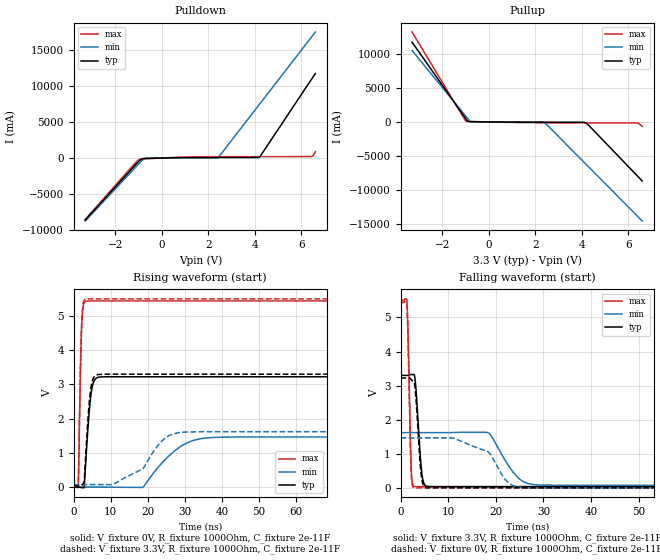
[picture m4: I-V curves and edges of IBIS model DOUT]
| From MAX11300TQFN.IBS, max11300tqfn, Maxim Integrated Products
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[Model]   DOUT
Model_type   Output
Polarity   Non-Inverting
Vmeas = 1.65
Vref = 3.3
Cref = 20pF
Rref = 1e3
|   typ   min   max
C_comp   1.884e-12   2.663e-12   1.350e-12
|C_comp (ON state)   1.884e-12   2.663e-12   1.350e-12
|C_comp (OFF state)   1.768e-12   2.478e-12   1.256e-12
[Voltage Range]   3.3   1.62   5.5
[Temperature Range]   25   105   -45
[Pullup Reference]   3.3   1.62   5.5
[Pulldown Reference]   0   0   0
[Power Clamp Reference]   3.3   1.62   5.5
[GND Clamp Reference]   0   0   0
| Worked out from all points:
|   slope of the pulldown table from 0 to 0.495 V, typ, clamps not added: 13.9 ohm
|   slope of the pullup table from 0 to 0.495 V, typ, clamps not added: 27.6 ohm
|   falling waveform, V_fixture 3.3V, R_fixture 1000Ohm, C_fixture 2e-11F: 20-80 % time 918ps typ, 4.18ns min, 517ps max; typ from 3.3 V to 0.036 V
|   rising waveform, V_fixture 0V, R_fixture 1000Ohm, C_fixture 2e-11F: 20-80 % time 1.32ns typ, 7.96ns min, 619ps max; typ from 0 V to 3.22 V
|   rising waveform, V_fixture 3.3V, R_fixture 1000Ohm, C_fixture 2e-11F: 20-80 % time 1.24ns typ, 7.63ns min, 599ps max; typ from 0.036 V to 3.3 V
|   falling waveform, V_fixture 0V, R_fixture 1000Ohm, C_fixture 2e-11F: 20-80 % time 904ps typ, 5.59ns min, 509ps max; typ from 3.22 V to 0 V
[Pulldown]
|   Voltage   I(typ)   I(min)   I(max)
-3.3V     -8.626A    -8.755A    -8.532A
-1.139V   -946.3mA   -1.304A    -651mA
-984.5mV  -425.2mA   -773.7mA   -224.7mA
-844.8mV  -108.1mA   -330.2mA   -124.7mA
-732.3mV  -61.23mA   -84.56mA   -107.1mA
-607.6mV  -50.54mA   -18.66mA   -89.93mA
2.398V    66.94mA    59.63mA    183.7mA
2.462V    67.06mA    240.2mA    184mA
4.201V    155mA      7.497A     187.2mA
6.42V     10.89A     16.77A     206.9mA
6.49V     11.23A     17.06A     305.6mA
6.597V    11.75A     17.51A     887.3mA
[Pullup]
|   Voltage   I(typ)   I(min)   I(max)
-3.3V     11.71A     10.49A     13.2A
-983.4mV  441.6mA    816.1mA    130.9mA
-891mV    86.38mA    430.4mA    80.75mA
-805.2mV  38.81mA    106.4mA    72mA
-727.4mV  33.1mA     22.22mA    64.7mA
2.181V    -38.17mA   -4.907mA   -115.6mA
2.378V    -38.91mA   -124.3mA   -119.2mA
4.158V    -132.2mA   -6.141A    -134.4mA
4.389V    -829.4mA   -6.937A    -135.4mA
6.366V    -7.856A    -13.75A    -154.1mA
6.463V    -8.201A    -14.09A    -255.7mA
6.597V    -8.678A    -14.55A    -664.7mA
[Ramp]
R_load = 1000
|   typ   min   max
dV/dt_r   1.9344/1.32382e-09   0.880239/7.97784e-09   3.2634/6.18497e-10
dV/dt_f   1.95833/9.18428e-10   0.926592/4.17131e-09   3.28024/5.16706e-10
[Falling Waveform]
V_fixture = 3.3V
V_fixture_min = 1.62V
V_fixture_max = 5.5V
R_fixture = 1000Ohm
C_fixture = 2e-11F
|   Time   V(typ)   V(min)   V(max)
0s        3.3V       1.62V      5.5V
1.342ns   3.3V       1.62V      5.476V
1.582ns   3.3V       1.62V      4.481V
2.194ns   3.325V     1.62V      725.1mV
2.818ns   3.325V     1.62V      41.24mV
4.459ns   431.5mV    1.62V      33.03mV
5.409ns   49.27mV    1.62V      32.97mV
18.33ns   36.12mV    1.622V     32.93mV
28.04ns   36.12mV    93.83mV    32.93mV
100ns     36.12mV    75.68mV    32.93mV
[Rising Waveform]
V_fixture = 0V
V_fixture_min = 0V
V_fixture_max = 0V
R_fixture = 1000Ohm
C_fixture = 2e-11F
|   Time   V(typ)   V(min)   V(max)
0s        35.67nV    74.26nV    32.76nV
1.227ns   3.831uV    74.19nV    4.454mV
2.095ns   -11.48mV   73.27nV    4.512V
2.806ns   479.7uV    100.9nV    5.379V
3.225ns   686.1mV    92.48nV    5.429V
4.646ns   2.692V     1.88uV     5.439V
6.49ns    3.206V     -900.9nV   5.439V
18.65ns   3.224V     -3.999mV   5.439V
34.18ns   3.224V     1.415V     5.439V
100ns     3.224V     1.467V     5.439V
[Rising Waveform]
V_fixture = 3.3V
V_fixture_min = 1.62V
V_fixture_max = 5.5V
R_fixture = 1000Ohm
C_fixture = 2e-11F
|   Time   V(typ)   V(min)   V(max)
0s        36.12mV    75.68mV    32.93mV
1.227ns   36.12mV    75.68mV    64.2mV
2.095ns   48.11mV    75.68mV    4.665V
2.806ns   158.8mV    75.68mV    5.451V
3.225ns   896mV      75.68mV    5.492V
4.646ns   2.903V     75.68mV    5.5V
6.49ns    3.29V      75.68mV    5.5V
18.57ns   3.3V       528.7mV    5.5V
28.04ns   3.3V       1.586V     5.5V
100ns     3.3V       1.62V      5.5V
[Falling Waveform]
|Gnd
V_fixture = 0V
V_fixture_min = 0V
V_fixture_max = 0V
R_fixture = 1000Ohm
C_fixture = 2e-11F
|   Time   V(typ)   V(min)   V(max)
0s        3.224V     1.467V     5.439V
1.332ns   3.224V     1.467V     5.305V
1.521ns   3.224V     1.467V     4.581V
2.194ns   3.185V     1.467V     531.4mV
2.818ns   3.096V     1.467V     5.395mV
4.284ns   437.6mV    1.467V     110.9uV
5.409ns   5.927mV    1.467V     38.69uV
18.23ns   414.6nV    1.069V     404nV
24.73ns   316.1nV    21.32mV    -449.4nV
100ns     1.064uV    66.83nV    -505.9nV
